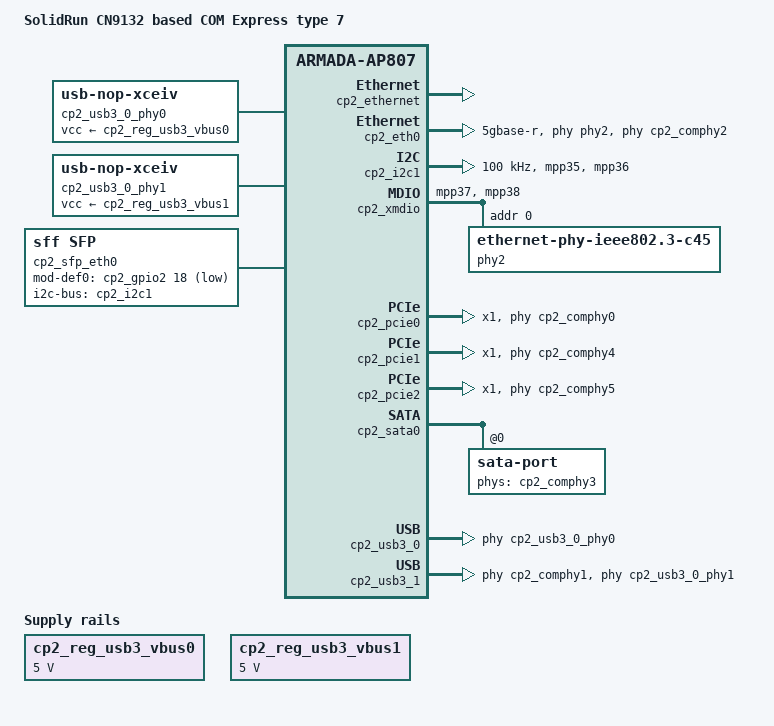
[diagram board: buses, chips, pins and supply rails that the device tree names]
// SPDX-License-Identifier: (GPL-2.0+ OR MIT)
/*
 * Copyright SolidRun Ltd.
 *
 * Device tree for the CN9132 based COM Express type 7 board"
 */

#include "cn9131-cex7.dts"

/ {
        model = "SolidRun CN9132 based COM Express type 7";
        compatible =         "marvell,cn9132", "marvell,cn9131", "marvell,cn9130",
                        "marvell,armada-ap807-quad", "marvell,armada-ap807";

        aliases {
                gpio5 = &cp2_gpio1;
                gpio6 = &cp2_gpio2;
                ethernet5 = &cp2_eth0;
        };

        cp2_reg_usb3_vbus0: cp2_usb3_vbus@0 {
                compatible = "regulator-fixed";
                regulator-name = "cp2-xhci0-vbus";
                regulator-min-microvolt = <5000000>;
                regulator-max-microvolt = <5000000>;
                enable-active-high;
        };

        cp2_usb3_0_phy0: cp2_usb3_phy0 {
                compatible = "usb-nop-xceiv";
                vcc-supply = <&cp2_reg_usb3_vbus0>;
        };

        cp2_reg_usb3_vbus1: cp2_usb3_vbus@1 {
                compatible = "regulator-fixed";
                regulator-name = "cp2-xhci1-vbus";
                regulator-min-microvolt = <5000000>;
                regulator-max-microvolt = <5000000>;
                enable-active-high;
        };

        cp2_usb3_0_phy1: cp2_usb3_phy1 {
                compatible = "usb-nop-xceiv";
                vcc-supply = <&cp2_reg_usb3_vbus1>;
        };

        cp2_sfp_eth0: sfp-eth0 {
                compatible = "sff,sfp";
                i2c-bus = <&cp2_i2c1>;
                mod-def0-gpio = <&cp2_gpio2 18 GPIO_ACTIVE_LOW>;
                pinctrl-names = "default";
                pinctrl-0 = <&cp2_sfp_pins>;
                status = "okay";
        };
};

/* Instantiate the second slave CP115 */

#define CP11X_NAME                cp2
#define CP11X_BASE                f6000000
#define CP11X_PCIEx_MEM_BASE(iface) (0xe9000000 + (iface * 0x2000000))
#define CP11X_PCIEx_MEM_SIZE(iface) 0xf00000
#define CP11X_PCIE0_BASE        f6600000
#define CP11X_PCIE1_BASE        f6620000
#define CP11X_PCIE2_BASE        f6640000

#include "armada-cp115.dtsi"

#undef CP11X_NAME
#undef CP11X_BASE
#undef CP11X_PCIEx_MEM_BASE
#undef CP11X_PCIEx_MEM_SIZE
#undef CP11X_PCIE0_BASE
#undef CP11X_PCIE1_BASE
#undef CP11X_PCIE2_BASE

&cp2_crypto {
        status = "disabled";
};

&cp2_ethernet {
        status = "okay";
};

/* 10GE Port */
&cp2_eth0 {
        status = "okay";
        phy-mode = "5gbase-r";
        phys = <&cp2_comphy2 0>;
        phy = <&phy2>;
        sfp = <&cp2_sfp_eth0>;
};

&cp2_gpio1 {
        status = "okay";
};

&cp2_gpio2 {
        status = "okay";
};

&cp2_i2c1 {
        status = "okay";
        pinctrl-names = "default";
        pinctrl-0 = <&cp2_i2c1_pins>;
        clock-frequency = <100000>;
};

&cp2_xmdio {
        status = "okay";
        pinctrl-0 = <&cp2_xmdio_pins>;
        phy2: ethernet-phy@0 {
                compatible = "ethernet-phy-ieee802.3-c45";
                reg = <0>;
        };
};


/* PCIE0 X1 */
&cp2_pcie0 {
        status = "okay";
        num-lanes = <1>;
        num-viewport = <8>;
        phys = <&cp2_comphy0 0>;
};

/* PCIE1 X1 */
&cp2_pcie1 {
        status = "okay";
        num-lanes = <1>;
        num-viewport = <8>;
        phys = <&cp2_comphy4 1>;
};

/* PCIE2 X1 */
&cp2_pcie2 {
        status = "okay";
        num-lanes = <1>;
        num-viewport = <8>;
        phys = <&cp2_comphy5 2>;
};

/* SATA 1 */
&cp2_sata0 {
        status = "okay";
        sata-port@0 {
                phys = <&cp2_comphy3 1>;
        };
};

&cp2_syscon0 {
        cp2_pinctrl: pinctrl {
                compatible = "marvell,cp115-standalone-pinctrl";

                cp2_xmdio_pins: cp2-xmdio-pins-0 {
                        marvell,pins = "mpp37", "mpp38";
                        marvell,function = "xg";
                };

                cp2_i2c1_pins: cp2-i2c-pins-1 {
                        marvell,pins = "mpp35", "mpp36";
                        marvell,function = "i2c1";
                };
                cp2_sfp_pins: sfp-pins {
                        marvell,pins = "mpp50";
                        marvell,function = "gpio";
                };
        };
};

&cp2_usb3_0 {
        status = "okay";
        usb-phy = <&cp2_usb3_0_phy0>;
        phy-names = "usb";
};

/* USB3 */
&cp2_usb3_1 {
        status = "okay";
        usb-phy = <&cp2_usb3_0_phy1>;
        phy-names = "usb";
        phys = <&cp2_comphy1 0>;
};
